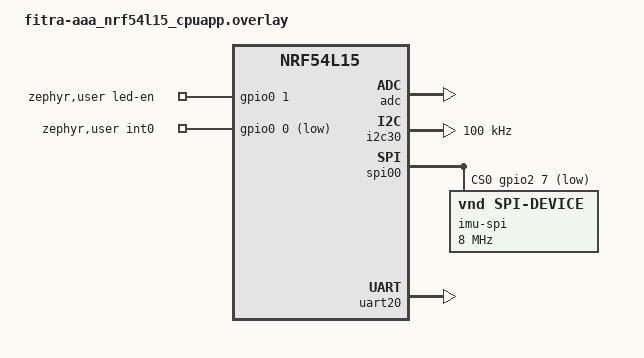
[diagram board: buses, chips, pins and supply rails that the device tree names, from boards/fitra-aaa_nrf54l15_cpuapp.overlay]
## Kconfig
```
#
# Copyright (c) 2023 Nordic Semiconductor
#
# SPDX-License-Identifier: LicenseRef-Nordic-5-Clause
#

config USE_SLIMENRF_CONSOLE
    bool "Use basic console"
    default y
    help
        Use basic console for commands.

config BATTERY_CHARGER_HAS_NTC
    bool "Battery thermistor"
    help
      Flag for battery NTC thermistor availability.

choice
    prompt "Battery voltage mapping"
    default BATTERY_NO_MAPPING

config BATTERY_USE_REG_BUCK_MAPPING
    bool "Use buck regulator mapping (3.7V battery, DCDC)"
    help
      Use a constant power mapping for battery voltage.
      Preffered for systems with a buck regulator.
      Measured at a system voltage of 3.0V.

config BATTERY_USE_REG_LDO_MAPPING
    bool "Use LDO linear regulator mapping (3.7V battery, LDO)"
    help
      Use a constant current mapping for battery voltage.
      Preferred for systems with a linear regulator.

config BATTERY_USE_NIMH_MAPPING
        bool "Use 1-cell NiMH mapping"
        help
            Use a voltage curve tuned for a single NiMH cell.
            This is intended for primary battery monitoring paths that
            report cell voltage directly, such as nPM2100 VBAT.

config BATTERY_NO_MAPPING
    bool "Disable battery voltage mapping"
    help
      Always map to 100% battery. Disables battery monitoring.

endchoice

config BATTERY_LOW_RUNTIME_THRESHOLD
    int "Low battery runtime threshold (ms)"
    default 10800000
    help
      Trigger low battery when estimated runtime falls below threshold.
      If estimated runtime is not available, low battery will trigger under 10% estimated state of charge.

choice
    prompt "Status LED color mapping"
    default LED_TRI_COLOR

config LED_RGB_COLOR
    bool "Use RGB color mapping"
    help
        Use RGB or RG color mapping for LED status if available.

config LED_TRI_COLOR
    bool "Use default color mapping"
    help
        Use the default color mapping for LED status.

endchoice

menu "Status LED default status color"
    depends on LED_RGB_COLOR

config LED_DEFAULT_COLOR_R
    int "Red value"
    range 0 10000
    default 4000
    depends on LED_RGB_COLOR
    help
        Red color for default status.
        Valid range is 0 to 10000.

config LED_DEFAULT_COLOR_G
    int "Green value"
    range 0 10000
    default 6000
    depends on LED_RGB_COLOR
    help
        Green color for default status.
        Valid range is 0 to 10000.

config LED_DEFAULT_COLOR_B
    int "Blue value"
    range 0 10000
    default 0
    depends on LED_RGB_COLOR
    help
        Blue color for default status.
        Valid range is 0 to 10000.

endmenu

config USER_EXTRA_ACTIONS
    bool "Multiple press actions"
    help
        Allow user to use multiple presses to calibrate, pair, or enter DFU.
        By default, pairing is available when holding down sw0 for 5 seconds.
        By default, DFU is available when holding down sw0 and plugging in a USB cable.

config IGNORE_RESET
    bool "Ignore reset"
    default y
    help
        If sw0 is available, don't perform any extra actions on reset.

config USER_SHUTDOWN
    bool "User shutdown support"
    default y
    help
        Allow user to use reset or sw0 to shutdown.

config USE_IMU_WAKE_UP
    bool "IMU wake up support"
    default y
    help
        Use IMU wake up state if IMU wake up is present.

config DELAY_SLEEP_ON_STATUS
    bool "Delay IMU wake up mode on status flags"
    default y
    depends on USE_IMU_WAKE_UP
    help
        Delay IMU wake up state if there is an active status flag or in pairing mode.

config WOM_USE_DCDC
    bool "Use DCDC in IMU wake up mode"
    depends on USE_IMU_WAKE_UP
    help
        Use DCDC instead of LDO in IMU wake up state if it is more efficient.

config CONNECTION_TIMEOUT_DELAY
    int "Connection timeout delay (ms)"
    default 300000
    depends on USER_SHUTDOWN
    help
        Connection timeout duration when receiver is not detected.

choice
    prompt "Sensor rotation"
    default SENSOR_ROTATION_90

config SENSOR_ROTATION_0
    bool "0 degrees"

config SENSOR_ROTATION_90
    bool "90 degrees"

config SENSOR_ROTATION_180
    bool "180 degrees"

config SENSOR_ROTATION_270
    bool "270 degrees"

config SENSOR_ROTATION_0_FLIPPED
    bool "0 degrees flipped"

config SENSOR_ROTATION_90_FLIPPED
    bool "90 degrees flipped"

config SENSOR_ROTATION_180_FLIPPED
    bool "180 degrees flipped"

config SENSOR_ROTATION_270_FLIPPED
    bool "270 degrees flipped"

endchoice

menu "Sensor power saving"

config SENSOR_LP_TIMEOUT
    int "Sensor low power delay (ms)"
    default 500
    help
        Low power timeout during no motion.

config SENSOR_USE_LOW_POWER_2
    bool "Use additional low power modes"
    help
        Use a higher latency sensor mode during no motion.

config USE_IMU_TIMEOUT
    bool "Use IMU wake up state"
    default y
    depends on USE_IMU_WAKE_UP
    help
        Use IMU wake up state during no motion.

config IMU_TIMEOUT_RAMP_MIN
    int "Sensor timeout minimum delay (ms)"
    default 5000
    depends on USE_IMU_TIMEOUT || SENSOR_USE_LOW_POWER_2
    help
        Minimum timeout during no motion. Initial period on wake up.

config IMU_TIMEOUT_RAMP_MAX
    int "Sensor timeout maximum delay (ms)"
    default 15000
    depends on USE_IMU_TIMEOUT || SENSOR_USE_LOW_POWER_2
    help
        Maximum timeout during no motion.

config USE_ACTIVE_TIMEOUT
    bool "Use activity timeout"
    default y
    depends on USE_IMU_WAKE_UP || USER_SHUTDOWN
    help
        Delay IMU wake up state or user shutdown during activity.

choice
    prompt "Activity timeout mode"
    default SLEEP_ON_ACTIVE_TIMEOUT
    depends on USE_ACTIVE_TIMEOUT

config SLEEP_ON_ACTIVE_TIMEOUT
    bool "IMU wake up"
    depends on USE_IMU_WAKE_UP
    help
        Use IMU wake up state when activity timeout elapses.

config SHUTDOWN_ON_ACTIVE_TIMEOUT
    bool "User shutdown"
    depends on USER_SHUTDOWN
    help
        Use user shutdown when activity timeout elapses.

endchoice

config ACTIVE_TIMEOUT_THRESHOLD
    int "Activity timeout threshold (ms)"
    default 15000
    depends on USE_ACTIVE_TIMEOUT
    help
        Trigger activity timeout after a certain threshold of activity.

config ACTIVE_TIMEOUT_DELAY
    int "Activity timeout delay (ms)"
    default 900000
    depends on USE_ACTIVE_TIMEOUT
    help
        Activity timeout duration when triggered.

endmenu

config SENSOR_ACCEL_ODR
    int "Accelerometer output data rate (Hz)"
    default 100
    help
        Requested accelerometer output data rate. Actual rate will be raised to the nearest supported rate.
        A higher rate will increase the time to read and process sensor data.

config SENSOR_GYRO_ODR
    int "Gyrometer output data rate (Hz)"
    default 200
    help
        Requested gyrometer output data rate. Actual rate will be raised to the nearest supported rate.
        A higher rate will increase the time to read and process sensor data.
        A lower rate is recommended for IMUs with poor gyrometer rate noise density. (e.g. BMI270, LSM6DS3TR-C)

config SENSOR_ACCEL_FS
    int "Accelerometer full scale (g)"
    default 4
    help
        Requested accelerometer full scale. Actual scale will be raised to the nearest supported scale.
        A lower scale may improve noise performance, but is more likely to saturate.

config SENSOR_GYRO_FS
    int "Gyrometer full scale (dps)"
    default 1000
    help
        Requested gyrometer full scale. Actual scale will be raised to the nearest supported scale.
        A lower scale may improve noise performance, but is more likely to saturate.

config SENSOR_USE_MAG
    bool "Magnetometer support"
    default y
    help
        Use magnetometer if it is present.

config USE_SENSOR_CLOCK
    bool "Use external IMU clock"
    default y
    help
        Use external IMU clock if it is present.

choice
    prompt "Sensor fusion"
    default SENSOR_USE_VQF
    help
        Select the sensor fusion method.

config SENSOR_USE_VQF
    bool "Use VQF"
    help
        Use VQF for sensor fusion.
        Based on Kalman filter.

endchoice

config SENSOR_USE_6_SIDE_CALIBRATION
    bool "Use 6-side calibration"
    default y
    depends on USE_SLIMENRF_CONSOLE
    help
        Use 6-side calibration for accelerometer.
        Calibration can be completed through the basic console.

config RADIO_TX_POWER
    int "Radio output power (dBm)"
    default 8
    help
        Radio output power level.
        A lower value may reduce power consumption.

config CONNECTION_OVER_HID
    bool "Use HID for data output"
    help
        Use HID if available.
        Otherwise, use ESB only.

source "Kconfig.zephyr"
```

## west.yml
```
manifest:
  version: "1.2"
  projects:

    # nRF-Connect SDK
    - name: sdk-nrf
      path: nrf
      url: https://github.com/nrfconnect/sdk-nrf.git
      revision: v3.3.1
      import: true
```

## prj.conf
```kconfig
#CONFIG_NCS_SAMPLES_DEFAULTS
CONFIG_ASSERT=y
CONFIG_ASSERT_NO_COND_INFO=y
CONFIG_ASSERT_NO_MSG_INFO=y
CONFIG_RESET_ON_FATAL_ERROR=y

CONFIG_NCS_APPLICATION_BOOT_BANNER_STRING="SlimeVR-Tracker-nRF"
#CONFIG_NCS_BOOT_BANNER=n
CONFIG_BOOT_BANNER=n

CONFIG_ESB=y
#need to enable for nRF54L
#CONFIG_NRFX_DPPI10=y

CONFIG_ADC=y
CONFIG_ADC_NRFX_SAADC=y
CONFIG_FPU=y
CONFIG_I2C=y
CONFIG_SPI=y
CONFIG_PINCTRL=y
CONFIG_SENSOR=y

CONFIG_CMSIS_DSP=y
CONFIG_CMSIS_DSP_BASICMATH=y
CONFIG_CMSIS_DSP_CONTROLLER=y
CONFIG_CMSIS_DSP_FASTMATH=y
CONFIG_CMSIS_DSP_SUPPORT=y

CONFIG_NVS=y
CONFIG_NVS_LOOKUP_CACHE=y
CONFIG_NVS_INIT_BAD_MEMORY_REGION=y

CONFIG_POWEROFF=y
CONFIG_REBOOT=y

CONFIG_FLASH=y
CONFIG_FLASH_PAGE_LAYOUT=y
CONFIG_FLASH_MAP=y

CONFIG_SETTINGS=y
CONFIG_SETTINGS_RUNTIME=y
CONFIG_SETTINGS_NONE=y

CONFIG_MPU_ALLOW_FLASH_WRITE=y

CONFIG_RETAINED_MEM=y

CONFIG_USE_SEGGER_RTT=y
CONFIG_LOG=y
#CONFIG_PRINTK=y
CONFIG_LOG_MODE_DEFERRED=y
CONFIG_LOG_SPEED=y
CONFIG_LOG_BACKEND_RTT=y
CONFIG_CBPRINTF_FP_SUPPORT=y
CONFIG_ADC_LOG_LEVEL_OFF=y
CONFIG_LOG_FUNC_NAME_PREFIX_ERR=y
CONFIG_LOG_BUFFER_SIZE=1536
CONFIG_LOG_BACKEND_UART_AUTOSTART=n
CONFIG_LOG_PROCESS_THREAD_SLEEP_MS=50
CONFIG_LOG_PROCESS_THREAD_STACK_SIZE=1024

CONFIG_PWM=y
CONFIG_GPIO=y

CONFIG_CRC=y

CONFIG_NEWLIB_LIBC=y
#deprecated?
#CONFIG_NRFX_TIMER1=y

#speed up boot? (use internal rc oscillator)
CONFIG_CLOCK_CONTROL_NRF_K32SRC_RC=y
CONFIG_CLOCK_CONTROL_NRF_K32SRC_RC_CALIBRATION=n
#speed up boot? (synthesize lf clock)
#CONFIG_CLOCK_CONTROL_NRF_K32SRC_SYNTH=y

# dont need it
CONFIG_CRYPTO=n

# set timeout for 25ms, sufficient for ~1000 bytes
CONFIG_I2C_NRFX_TRANSFER_TIMEOUT=25

CONFIG_USB_DEVICE_HID=y
CONFIG_USB_DEVICE_VID=0x1209
CONFIG_USB_DEVICE_PID=0x7692
CONFIG_USB_HID_BOOT_PROTOCOL=y
CONFIG_USB_DEVICE_INITIALIZE_AT_BOOT=n
CONFIG_USB_CDC_ACM=y
CONFIG_UART_INTERRUPT_DRIVEN=y
CONFIG_USB_WORKQUEUE_STACK_SIZE=512

CONFIG_SERIAL=y
CONFIG_CONSOLE=y
CONFIG_RTT_CONSOLE=y
CONFIG_UART_CONSOLE=y
CONFIG_UART_LINE_CTRL=y
# fit "write all <base64:173>"
CONFIG_CONSOLE_INPUT_MAX_LINE_LEN=256

CONFIG_LOG=y
CONFIG_USB_DRIVER_LOG_LEVEL_ERR=y
CONFIG_USB_DEVICE_LOG_LEVEL_ERR=y
CONFIG_USB_CDC_ACM_LOG_LEVEL_OFF=y

CONFIG_LOG_BACKEND_UART=y

CONFIG_CONSOLE_SUBSYS=y

CONFIG_NVS_LOG_LEVEL_WRN=y
CONFIG_USB_HID_LOG_LEVEL_WRN=y

CONFIG_USB_DEVICE_SOF=y
CONFIG_USB_HID_REPORTS=256

#CONFIG_USB_HID_POLL_INTERVAL_MS=1
CONFIG_USB_HID_POLL_INTERVAL_MS=0
CONFIG_HID_INTERRUPT_EP_MPS=64
#CONFIG_ENABLE_HID_INT_OUT_EP=y

CONFIG_SYSTEM_WORKQUEUE_STACK_SIZE=256
CONFIG_MAIN_STACK_SIZE=512
#crashing on nrf54l at 512

CONFIG_THREAD_NAME=y

CONFIG_HEAP_MEM_POOL_SIZE=2048
CONFIG_ISR_STACK_SIZE=1024

CONFIG_PM_DEVICE=y

CONFIG_BASE64=y

#CONFIG_THREAD_ANALYZER=y
#CONFIG_THREAD_ANALYZER_AUTO=y
#CONFIG_THREAD_ANALYZER_AUTO_INTERVAL=5

#about 20KB saved
#CONFIG_LTO=y
#CONFIG_ISR_TABLES_LOCAL_DECLARATION=y
```

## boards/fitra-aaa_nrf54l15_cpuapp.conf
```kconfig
# FITRA-AAA nRF54L15 (cpuapp) application config overrides

# USB はハードウェア的に未統合のため、グローバルの設定を上書きして無効化
CONFIG_USB_DEVICE_STACK=n
CONFIG_USB_DEVICE_HID=n
CONFIG_USB_CDC_ACM=n

# --- Logging: RTT を既定にし、UART20 ログバックエンドは停止してバッテリーを節約。
# ログ（と SlimeVR コンソール入力）は SEGGER RTT へ。RTT はデバッガ接続時のみ
# 電力を消費（RAM リングバッファ）。UART20 でログを見たい場合は AUTOSTART=y ＋
# LOG_DEFAULT_LEVEL を上げてリビルド。
CONFIG_UART_CONSOLE=y
CONFIG_LOG_BACKEND_UART=y
CONFIG_LOG_BACKEND_UART_AUTOSTART=n
CONFIG_LOG_BACKEND_RTT=y
CONFIG_LOG_BACKEND_RTT_MODE_DROP=y
CONFIG_LOG_DEFAULT_LEVEL=3
CONFIG_SENSOR_LOG_LEVEL_WRN=y
# Disable SPI driver debug logs to reduce log buffer usage
CONFIG_SPI_LOG_LEVEL_INF=y
# Reduce log buffer (was 4096) since UART backend is off and sensor logs are at WRN
CONFIG_LOG_BUFFER_SIZE=1536

# Required for timing on nRF54L series
CONFIG_NRF_GRTC_START_SYSCOUNTER=y

# FITRA-AAA battery path uses nPM2100 VBAT readings with a 1-cell NiMH mapping
CONFIG_SENSOR=y
CONFIG_REGULATOR=y
CONFIG_NPM2100_VBAT=y
CONFIG_I2C_NRFX_TRANSFER_TIMEOUT=100
CONFIG_BATTERY_USE_NIMH_MAPPING=y
CONFIG_LED_RGB_COLOR=y

# --- ESB 送信電力を 0 dBm に下げて送信電流を最小化（体装着・受信機近傍用途を想定）。
# 到達距離/信頼性が落ちる場合は 3〜4 などに戻す。CONFIG_RADIO_TX_POWER は実行時設定
# (CONFIG_2_RADIO_TX_POWER) の初期値のため、既ブート個体では reset_config all で再適用。
CONFIG_RADIO_TX_POWER=0
CONFIG_ESB_CLOCK_INIT=y

# --- 静止時のセンサ低消費電力モード(低ODR)への移行をやや速く(WOMスリープとは別)。
# これは動作中の省電力(WOM無効でも有効)。runtime settings の初期値(reset_config all で再適用)。
# SENSOR_LP_TIMEOUT: 500 -> 300 ms
CONFIG_SENSOR_LP_TIMEOUT=300

# --- WOM(モーション起こし)スリープは復帰不具合のため一時的に無効化。
# USE_IMU_WAKE_UP=n でWOM要求パスを切る。int0-gpios のデータready割り込み
# (動作中のMCUスリープ=主な省電力)は残存する。復帰問題解決後に y に戻し、
# WOM用タイムアウト(IMU_TIMEOUT_RAMP_*, ACTIVE_TIMEOUT_DELAY)を再設定すること。
CONFIG_USE_IMU_WAKE_UP=n

# nRF54L15 starts up with HW stack protection enabled; too-small stacks
# can overflow immediately (UsageFault STKOF -> forced HardFault).
CONFIG_MAIN_STACK_SIZE=4096

# Interrupt/exception stack (MSP). The default (1024) is too small here and
# we hit STKOF very early during exception handling.
CONFIG_ISR_STACK_SIZE=8192
```

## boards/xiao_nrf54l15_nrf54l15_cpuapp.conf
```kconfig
# XIAO nRF54L15 (cpuapp) application config overrides

# USB はハードウェア的に未統合のため、グローバルの設定を上書きして無効化
CONFIG_USB_DEVICE_STACK=n
CONFIG_USB_DEVICE_HID=n
CONFIG_USB_CDC_ACM=n

# UART console for logging (UART20 is the default serial port)
CONFIG_UART_CONSOLE=y
CONFIG_LOG_BACKEND_UART=y
CONFIG_LOG_BACKEND_UART_AUTOSTART=y
CONFIG_CONSOLE_GETLINE=y

# Enable detailed logging for debugging
CONFIG_LOG_DEFAULT_LEVEL=3
CONFIG_SENSOR_LOG_LEVEL_DBG=y
# Disable SPI driver debug logs to reduce log buffer usage
CONFIG_SPI_LOG_LEVEL_INF=y
# Increase log buffer size to prevent message drops
CONFIG_LOG_BUFFER_SIZE=4096

# Required for timing on nRF54L series
CONFIG_NRF_GRTC_START_SYSCOUNTER=y
CONFIG_ESB_CLOCK_INIT=y

# XIAO specific features
CONFIG_BATTERY_USE_REG_LDO_MAPPING=y
CONFIG_LED_RGB_COLOR=y

# nRF54L15 starts up with HW stack protection enabled; too-small stacks
# can overflow immediately (UsageFault STKOF -> forced HardFault).
CONFIG_MAIN_STACK_SIZE=4096

# Interrupt/exception stack (MSP). The default (1024) is too small here and
# we hit STKOF very early during exception handling.
CONFIG_ISR_STACK_SIZE=8192
```

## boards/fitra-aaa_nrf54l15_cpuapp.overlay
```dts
#include <dt-bindings/regulator/npm2100.h>

// &pwm20 {
	//     status = "okay";
	//     pinctrl-0 = <&pwm20_default>;
	//     pinctrl-1 = <&pwm20_sleep>;
	//     pinctrl-names = "default", "sleep";
// };

/ {
	/*
	 * 1hira FITRA-AAA (nRF54L15/AN54LQ-15) application overlay
	 *
	 * This overlay intentionally relies on the board's *standard* pin mapping
	 * (Zephyr's fitra-aaa_nrf54l15_cpuapp board DTS) for the buses:
	 * - I2C: P0.02 P0.03 (nPM2100 on I2C30)
	 * - SPI: P2.6 P2.2 P2.4
	 *
	 * Only the required nodes for SlimeVR-Tracker-nRF are added here.
	 */

	chosen {
		zephyr,console = &uart20;
		zephyr,shell-uart = &uart20;
		zephyr,uart-mcumgr = &uart20;
		zephyr,bt-mon-uart = &uart20;
		zephyr,bt-c2h-uart = &uart20;
	};

	zephyr,user {
		/* P0.01 drives nPM2100 GPIO0 to control the LS (load switch) for LEDs */
		led-en-gpios = <&gpio0 1 GPIO_ACTIVE_HIGH>;

		/* LSM6DSV INT1 -> P0.00. Enables IMU interrupt-driven sampling
		 * (MCU sleeps between FIFO-threshold events instead of polling) and the
		 * WOM wake sense for system-off. INT1 is active-low/open-drain; the
		 * pull-up + falling-edge are applied at runtime from the driver's
		 * pin_config (see sensor.c / LSM6DSV.c). The DT flag below is for
		 * documentation; the edge/pull are overridden at runtime.
		 *
		 * NOTE: re-enabling this exposed nRF54L15 Errata 20 (RADIO TX payload
		 * corrupted/radio stuck if CPU/MCU power domain sleeps when RADIO
		 * starts TX) because the MCU now sleeps between IMU interrupts. Fixed
		 * via the CONSTLAT/LOWPWR workaround in src/connection/esb.c. */
		int0-gpios = <&gpio0 0 GPIO_ACTIVE_LOW>;
	};
};

&adc {
	status = "okay";
};


&gpio1 {
	status = "okay";
};

&gpio0 {
	status = "okay";
};

&gpio2 {
	status = "okay";
};

&gpiote20 {
	status = "okay";
};

&gpiote30 {
	status = "okay";
};

&clock {
	status = "okay";
};

/* nPM2100 PMIC and optional built-in IMU on I2C30 */
&i2c30 {
	status = "okay";
	pinctrl-0 = <&i2c30_default>;
	pinctrl-1 = <&i2c30_sleep>;
	pinctrl-names = "default", "sleep";
	clock-frequency = <I2C_BITRATE_STANDARD>;

	#include "../npm2100ek_pmic.dtsi"

	// lsm6ds3tr_c: lsm6ds3tr-c@6a {
	// 	compatible = "st,lsm6dsl";
	// 	reg = <0x6a>;
	// 	irq-gpios = <&gpio0 2 GPIO_ACTIVE_HIGH>;
	// 	label = "lsm6ds3tr-c";
	// };
};

/* SPI IMU (+ optional SPI magnetometer) */
&spi00 {
	status = "okay";
	/* ファームウェア(sensor.c のスキャンと LSM6DSV ドライバ)が SPI 周波数を 10MHz に
	 * ハードコードするが、nRF54L SPIM00 のベースクロックでは 10MHz が割り切れず
	 * nrfx に -22 で弾かれる。コントローラの max-frequency=8MHz で 8MHz にクランプ
	 * (有効: プリスケーラ=16/8/2 で偶数かつ[2,126]範囲内)。 */
	max-frequency = <DT_FREQ_M(8)>;
	/* LSM6DSV16X requires SPI Mode 0 (CPOL=0, CPHA=0) or Mode 3 (CPOL=1, CPHA=1) */
	/* Try Mode 3 - some sensors work better with this mode */

	imu_spi: imu_spi@0 {
		compatible = "vnd,spi-device";
		spi-max-frequency = <DT_FREQ_M(8)>;
		label = "imu-spi";
		reg = <0>;
		/* Mode 3: CPOL=1, CPHA=1 */
		spi-cpol;
		spi-cpha;
	};

	// mag_spi: mag_spi@1 {
		//     compatible = "vnd,spi-device";
		//     spi-max-frequency = <DT_FREQ_M(10)>;
		//     label = "mag-spi";
		//     reg = <1>;
	// };

	cs-gpios = <&gpio2 7 GPIO_ACTIVE_LOW>;
};

/*
 * Note: This board DTS does not define an on-board IMU node label.
 * If a board variant adds an IMU, disable it in that variant's overlay.
 */


/* uart20 pinctrl and current-speed are defined in fitra-aaa_common.dtsi */
&uart20 {
	status = "okay";
};


/* Explicitly disable I2C22 at the end of the overlay to override any base board settings */
&i2c22 {
	status = "disabled";
};

/*
 * Configure nPM2100 LDOSW as a GPIO-controlled load switch for LEDs.
 * nPM2100 GPIO0 is connected to SoC P0.01 (led-en-gpios above).
 * GPIO0 LOW  -> LDOSW OFF
 * GPIO0 HIGH -> LDOSW ON (HP mode, load-switch)
 */
&npm2100ek_ldosw {
	regulator-boot-on;
	regulator-allowed-modes = <(NPM2100_REG_LDSW_EN | NPM2100_REG_OPER_OFF | NPM2100_REG_FORCE_HP)>;
	regulator-initial-mode = <(NPM2100_REG_LDSW_EN | NPM2100_REG_OPER_OFF | NPM2100_REG_FORCE_HP)>;
	mode-gpios = <&npm2100ek_gpio 0 GPIO_ACTIVE_HIGH>;
};
```

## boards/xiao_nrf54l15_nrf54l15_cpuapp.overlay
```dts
&vbat_pwr {
	/delete-property/ enable-gpios;
};

/ {
	/*
	 * XIAO nRF54L15 (cpuapp) application overlay
	 *
	 * The board pinctrl maps SPI00 to SCK P2.01 (D8), MOSI P2.02
	 * (D10), and MISO P2.04 (D9). The external LSM6DSV16X uses
	 * CS P2.07 (D7) and INT1 P1.04 (D0).
	 */

	chosen {
		zephyr,console = &uart20;
		zephyr,shell-uart = &uart20;
	};

	battery-divider {
		compatible = "voltage-divider";
		status = "okay";
		/* XIAO nRF54L15 Sense Battery: AIN7 (P1.14) with Power Control (P1.15) */
		io-channels = <&adc 7>;
		output-ohms = <1000000>;
		full-ohms = <2000000>;
		power-gpios = <&gpio1 15 GPIO_ACTIVE_HIGH>;
	};

	zephyr,user {
		/* LSM6DSV16X INT1 is open-drain and active low. */
		int0-gpios = <&gpio1 4 (GPIO_PULL_UP | GPIO_ACTIVE_LOW)>;
	};
};

/* Built-in IMU (LSM6DS3TR-C) on I2C30 */
&i2c30 {
	status = "disabled";
	clock-frequency = <I2C_BITRATE_FAST>;

	lsm6ds3tr_c: lsm6ds3tr-c@6a {
		compatible = "st,lsm6dsl";
		status = "disabled";
		reg = <0x6a>;
		irq-gpios = <&gpio0 2 GPIO_ACTIVE_HIGH>;
		label = "lsm6ds3tr-c";
	};
};

/* SPI IMU (+ optional SPI magnetometer) */
&spi00 {
	status = "okay";
	pinctrl-0 = <&spi00_default>;
	pinctrl-1 = <&spi00_sleep>;
	pinctrl-names = "default", "sleep";
	/* SPIM00 cannot synthesize the scan code's requested 10 MHz clock. */
	max-frequency = <DT_FREQ_M(8)>;
	cs-gpios = <&gpio2 7 GPIO_ACTIVE_LOW>;

	imu_spi: imu_spi@0 {
		compatible = "vnd,spi-device";
		spi-max-frequency = <DT_FREQ_M(8)>;
		label = "imu-spi";
		reg = <0>;
		/* LSM6DSV16X SPI Mode 3. */
		spi-cpol;
		spi-cpha;
	};
};

&uart20 {
	status = "okay";
};

/* uart21 RX shares P2.07 with the external IMU chip select. */
&uart21 {
	status = "disabled";
};

/* Explicitly disable I2C22 at the end of the overlay to override any base board settings */
&i2c22 {
	status = "disabled";
};
```

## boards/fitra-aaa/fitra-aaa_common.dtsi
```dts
/*
 * Copyright (c) 2024 Nordic Semiconductor ASA
 * Copyright (c) 2025 1hira.
 *
 * SPDX-License-Identifier: Apache-2.0
 */

#include "fitra-aaa-pinctrl.dtsi"

/ {
	leds {
		compatible = "gpio-leds";

		led0: led_0 {
			gpios = <&gpio2 9 GPIO_ACTIVE_HIGH>;
			label = "Green LED 0";
		};

		// led1: led_1 {
		// 	gpios = <&gpio1 10 GPIO_ACTIVE_HIGH>;
		// 	label = "Green LED 1";
		// };

		// led2: led_2 {
		// 	gpios = <&gpio2 7 GPIO_ACTIVE_HIGH>;
		// 	label = "Green LED 2";
		// };

		// led3: led_3 {
		// 	gpios = <&gpio1 14 GPIO_ACTIVE_HIGH>;
		// 	label = "Green LED 3";
		// };
	};

	pwmleds {
		compatible = "pwm-leds";
		/*
		 * PWM signal can be exposed on GPIO pin only within same domain.
		 * There is only one domain which contains both PWM and GPIO:
		 * PWM20/21/22 and GPIO Port P1.
		 * Only LEDs connected to P1 can work with PWM, for example LED1.
		 */

		pwm_led1: pwm_led_1 {
			pwms = <&pwm20 0 PWM_MSEC(20) PWM_POLARITY_NORMAL>;
		};
	};

	buttons {
		compatible = "gpio-keys";

		// button0: button_0 {
		// 	gpios = <&gpio1 13 (GPIO_PULL_UP | GPIO_ACTIVE_LOW)>;
		// 	label = "Push button 0";
		// 	zephyr,code = <INPUT_KEY_0>;
		// };

		// button1: button_1 {
		// 	gpios = <&gpio1 9 (GPIO_PULL_UP | GPIO_ACTIVE_LOW)>;
		// 	label = "Push button 1";
		// 	zephyr,code = <INPUT_KEY_1>;
		// };

		// button2: button_2 {
		// 	gpios = <&gpio1 8 (GPIO_PULL_UP | GPIO_ACTIVE_LOW)>;
		// 	label = "Push button 2";
		// 	zephyr,code = <INPUT_KEY_2>;
		// };

		button3: button_3 {
			gpios = <&gpio0 4 (GPIO_PULL_UP | GPIO_ACTIVE_LOW)>;
			label = "USR";
			zephyr,code = <INPUT_KEY_3>;
		};
	};

	aliases {
		led0 = &led0;
		// led1 = &led1;
		// led2 = &led2;
		// led3 = &led3;
		// pwm-led0 = &pwm_led1;
		sw0 = &button3;
		// sw1 = &button1;
		// sw2 = &button2;
		sw3 = &button3;
		watchdog0 = &wdt31;
	};
};

&uart20 {
	current-speed = <115200>;
	pinctrl-0 = <&uart20_default>;
	pinctrl-1 = <&uart20_sleep>;
	pinctrl-names = "default", "sleep";
};

&uart30 {
	status = "disabled";
};

&pwm20 {
	status = "okay";
	pinctrl-0 = <&pwm20_default>;
	pinctrl-1 = <&pwm20_sleep>;
	pinctrl-names = "default", "sleep";
};

/* Get a node label for wi-fi spi to use in shield files */
wifi_spi: &spi22 {};
```

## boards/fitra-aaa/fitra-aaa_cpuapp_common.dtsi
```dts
/*
 * Copyright (c) 2024 Nordic Semiconductor ASA
 * Copyright (c) 2024 1hira.
 *
 * SPDX-License-Identifier: Apache-2.0
 */

/* This file is common to the secure and non-secure domain */

#include "fitra-aaa_common.dtsi"

/ {
	chosen {
		zephyr,console = &uart20;
		zephyr,shell-uart = &uart20;
		zephyr,uart-mcumgr = &uart20;
		zephyr,bt-mon-uart = &uart20;
		zephyr,bt-c2h-uart = &uart20;
		zephyr,flash-controller = &rram_controller;
		zephyr,flash = &cpuapp_rram;
		zephyr,ieee802154 = &ieee802154;
	};
};

&cpuapp_sram {
	status = "okay";
};

&lfxo {
	load-capacitors = "internal";
	load-capacitance-femtofarad = <15500>;
};

&hfxo {
	load-capacitors = "internal";
	load-capacitance-femtofarad = <15000>;
};

&regulators {
	status = "okay";
};

&vregmain {
	status = "okay";
	regulator-initial-mode = <NRF5X_REG_MODE_DCDC>;
};

&grtc {
	owned-channels = <0 1 2 3 4 5 6 7 8 9 10 11>;
	/* Channels 7-11 reserved for Zero Latency IRQs, 3-4 for FLPR */
	child-owned-channels = <3 4 7 8 9 10 11>;
	status = "okay";
};

&uart20 {
	status = "okay";
};

&gpio0 {
	status = "okay";
};

&gpio1 {
	status = "okay";
};

&gpio2 {
	status = "okay";
};

&gpiote20 {
	status = "okay";
};

&gpiote30 {
	status = "okay";
};

&radio {
	status = "okay";
};

&ieee802154 {
	status = "okay";
};

&temp {
	status = "okay";
};

&clock {
	status = "okay";
};

&spi00 {
	status = "okay";
	// cs-gpios = <&gpio2 5 GPIO_ACTIVE_LOW>;
	pinctrl-0 = <&spi00_default>;
	pinctrl-1 = <&spi00_sleep>;
	pinctrl-names = "default", "sleep";

	// mx25r64: mx25r6435f@0 {
	// 	compatible = "jedec,spi-nor";
	// 	status = "okay";
	// 	reg = <0>;
	// 	spi-max-frequency = <8000000>;
	// 	jedec-id = [c2 28 17];
	// 	sfdp-bfp = [
	// 		e5 20 f1 ff  ff ff ff 03  44 eb 08 6b  08 3b 04 bb
	// 		ee ff ff ff  ff ff 00 ff  ff ff 00 ff  0c 20 0f 52
	// 		10 d8 00 ff  23 72 f5 00  82 ed 04 cc  44 83 48 44
	// 		30 b0 30 b0  f7 c4 d5 5c  00 be 29 ff  f0 d0 ff ff
	// 	];
	// 	size = <67108864>;
	// 	has-dpd;
	// 	t-enter-dpd = <10000>;
	// 	t-exit-dpd = <35000>;
	// };
};

&adc {
	status = "okay";
};
```

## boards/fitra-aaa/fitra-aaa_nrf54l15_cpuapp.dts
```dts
/dts-v1/;
#include <nordic/nrf54l15_cpuapp.dtsi>
#include "fitra-aaa_cpuapp_common.dtsi"

/ {
	model = "1hira FITRA-AAA (nRF54L15/AN54LQ-15)";
	compatible = "hitohira,fitra-aaa-cpuapp";

	chosen {
		zephyr,code-partition = &slot0_partition;
		zephyr,sram = &cpuapp_sram;
		zephyr,flash = &cpuapp_rram;
		zephyr,flash-controller = &rram_controller;
	};
};

&grtc {
	owned-channels = <0 1 2 3 4 5 6 7 8 9 10 11>;
	/* Channels 7-11 reserved for Zero Latency IRQs, 3-4 for FLPR */
	child-owned-channels = <3 4 7 8 9 10 11>;
	status = "okay";
};

/* cpuapp_sram is already enabled in fitra-aaa_cpuapp_common.dtsi */

&spi22 {
	status = "disabled";
};

&spi00 {
	status = "okay";
	pinctrl-0 = <&spi00_default>;
	pinctrl-1 = <&spi00_sleep>;
	pinctrl-names = "default", "sleep";
};

#include <nordic/nrf54l15_cpuapp_partition.dtsi>
```

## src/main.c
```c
/*
	SlimeVR Code is placed under the MIT license
	Copyright (c) 2025 SlimeVR Contributors

	Permission is hereby granted, free of charge, to any person obtaining a copy
	of this software and associated documentation files (the "Software"), to deal
	in the Software without restriction, including without limitation the rights
	to use, copy, modify, merge, publish, distribute, sublicense, and/or sell
	copies of the Software, and to permit persons to whom the Software is
	furnished to do so, subject to the following conditions:

	The above copyright notice and this permission notice shall be included in
	all copies or substantial portions of the Software.

	THE SOFTWARE IS PROVIDED "AS IS", WITHOUT WARRANTY OF ANY KIND, EXPRESS OR
	IMPLIED, INCLUDING BUT NOT LIMITED TO THE WARRANTIES OF MERCHANTABILITY,
	FITNESS FOR A PARTICULAR PURPOSE AND NONINFRINGEMENT. IN NO EVENT SHALL THE
	AUTHORS OR COPYRIGHT HOLDERS BE LIABLE FOR ANY CLAIM, DAMAGES OR OTHER
	LIABILITY, WHETHER IN AN ACTION OF CONTRACT, TORT OR OTHERWISE, ARISING FROM,
	OUT OF OR IN CONNECTION WITH THE SOFTWARE OR THE USE OR OTHER DEALINGS IN
	THE SOFTWARE.
*/
#include "globals.h"
#include "system/system.h"
//#include "timer.h"
#include "connection/esb.h"
#include "sensor/sensor.h"

#include <zephyr/sys/reboot.h>

#define DFU_DBL_RESET_MEM 0x20007F7C
#define DFU_DBL_RESET_APP 0x4ee5677e

static uint32_t *dbl_reset_mem __attribute__((unused)) = ((uint32_t *)DFU_DBL_RESET_MEM); // retained

LOG_MODULE_REGISTER(main, LOG_LEVEL_INF);

#if DT_NODE_HAS_PROP(DT_ALIAS(sw0), gpios)
#define BUTTON_EXISTS true
#endif

#define DFU_EXISTS CONFIG_BUILD_OUTPUT_UF2 || CONFIG_BOARD_HAS_NRF5_BOOTLOADER
#define ADAFRUIT_BOOTLOADER CONFIG_BUILD_OUTPUT_UF2

int main(void)
{
#ifdef NRF_RESET
	uint32_t resetreas = NRF_RESET->RESETREAS;
	bool reset_pin_reset = resetreas & RESET_RESETREAS_RESETPIN_Msk;
	bool system_off_reset = resetreas & RESET_RESETREAS_OFF_Msk;
	NRF_RESET->RESETREAS = resetreas; // Clear RESETREAS
#else
	uint32_t resetreas = NRF_POWER->RESETREAS;
	bool reset_pin_reset = resetreas & POWER_RESETREAS_RESETPIN_Msk;
	bool system_off_reset = resetreas & POWER_RESETREAS_OFF_Msk;
	NRF_POWER->RESETREAS = resetreas; // Clear RESETREAS
#endif

#if BUTTON_EXISTS
	if (CONFIG_0_SETTINGS_READ(CONFIG_0_IGNORE_RESET))
		reset_pin_reset = false;
#endif

	set_led(SYS_LED_PATTERN_ONESHOT_WAKE, SYS_LED_PRIORITY_BOOT); // Boot LED

	bool button_pressed = button_read();
	uint8_t reboot_counter = reboot_counter_read();
	bool booting_from_shutdown = !reboot_counter && (system_off_reset || reset_pin_reset || button_pressed); // 0 means from user shutdown or failed ram validation

	/* if button is not held after booting from shutdown, power off again
	 * if button press is normal, continue boot
	 * if button is held for 1 second, reset pairing and continue boot
	 * if button is held but tracker was waking (not booting from shutdown) ignore the press // TODO: should it pass on to regular handler (e.g. intent to shutdown)
	 */

	if (booting_from_shutdown)
	{
		set_led(SYS_LED_PATTERN_ONESHOT_POWERON, SYS_LED_PRIORITY_BOOT);
		if (button_read())
		{
			set_status(SYS_STATUS_BUTTON_PRESSED, true); // prevent going to sleep while still holding
			int64_t start_time = k_uptime_get();
			while (button_read())
			{
				if (k_uptime_get() - start_time > 1000)
				{
					LOG_INF("Pairing requested");
					esb_reset_pair();
					break;
				}
				k_msleep(1);
			}
			if (CONFIG_0_SETTINGS_READ(CONFIG_0_USER_SHUTDOWN) && k_uptime_get() - start_time < 50) // debounce // TODO: does sense pin stay configured?
				sys_request_system_silent_off(false);
			set_status(SYS_STATUS_BUTTON_PRESSED, false);
		}
	}

	bool docked = dock_read();

	uint8_t reset_mode = -1;

	if (reboot_counter == 0)
		reboot_counter = 100;
	else if (reboot_counter > 200)
		reboot_counter = 200; // How did you get here
	reset_mode = reboot_counter - 100;
	if (reset_pin_reset && !docked) // Count pin resets while not docked
	{
		reboot_counter++;
		reboot_counter_write(reboot_counter);
		LOG_INF("Reset count: %u", reboot_counter);
#if ADAFRUIT_BOOTLOADER
#if BUTTON_EXISTS
		if (!CONFIG_0_SETTINGS_READ(CONFIG_0_IGNORE_RESET))
			(*dbl_reset_mem) = DFU_DBL_RESET_APP; // Using Adafruit bootloader, skip DFU if reset button could be used
#else
		(*dbl_reset_mem) = DFU_DBL_RESET_APP; // Using Adafruit bootloader, skip DFU since reset button is used
#endif
#endif
		k_msleep(1000); // Wait before clearing counter and continuing
	}
	reboot_counter_write(100);
	if (!(reset_pin_reset || system_off_reset) && reset_mode == 0) // Only need to check once, if the button is pressed again an interrupt is triggered from before
		reset_mode = -1; // Cancel reset_mode (shutdown)

	if (CONFIG_0_SETTINGS_READ(CONFIG_0_USER_SHUTDOWN))
	{
		bool charging = chg_read();
		bool charged = stby_read();
		bool plugged = vin_read();

		if (reset_mode == 0 && !booting_from_shutdown && !charging && !charged && !plugged) // Reset mode user shutdown, only if unplugged and undocked
			sys_user_shutdown();
	}

	sys_reset_mode(reset_mode);

	return 0;
}
```
